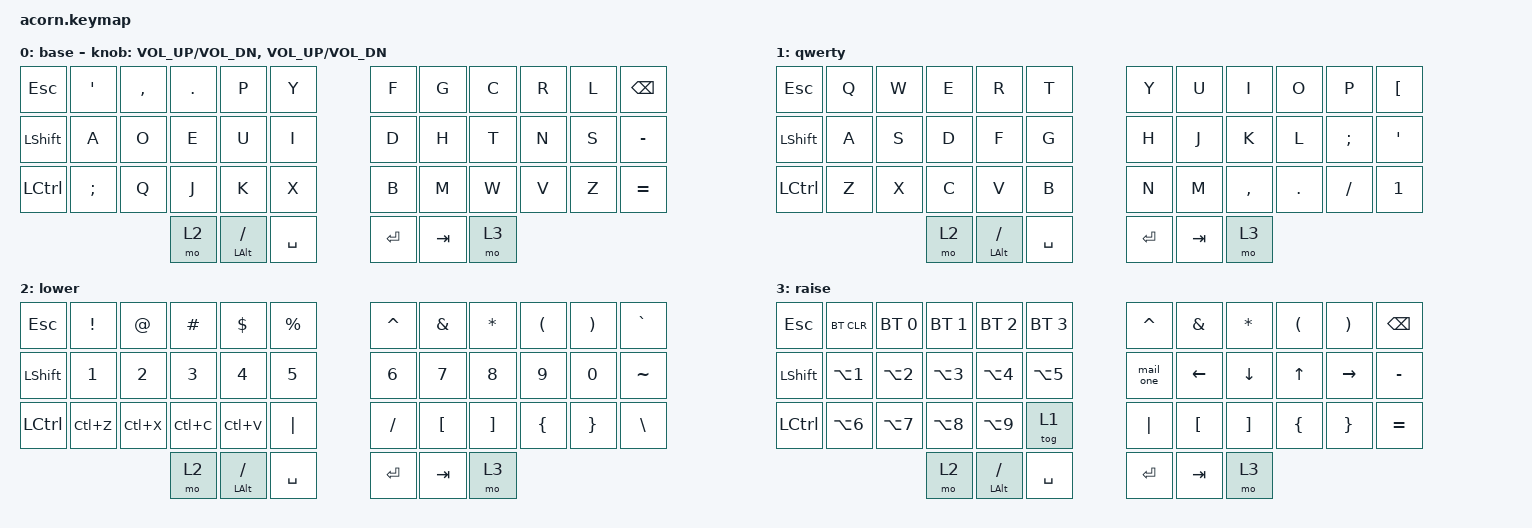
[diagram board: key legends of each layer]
#include <behaviors.dtsi>
#include <dt-bindings/zmk/keys.h>
#include <dt-bindings/zmk/bt.h>

/ {
    combos {
        compatible = "zmk,combos";

        combo_studio_unlock {
            timeout-ms = <50>;
            key-positions = <0 1>;
            bindings = <&studio_unlock>;
        };
    };

    macros {
        mail_one: mail_one {
            compatible = "zmk,behavior-macro";
            #binding-cells = <0>;
            bindings = <&macro_tap &kp S &kp S &kp R &kp I &kp J &kp I &kp I &kp T &kp H &kp AT &kp G &kp M &kp A &kp I &kp L &kp DOT &kp C &kp O &kp M>;
        };
    };

    keymap {
        compatible = "zmk,keymap";

        default_layer {
            display-name = "base";
            sensor-bindings = <&inc_dec_kp C_VOL_UP C_VOL_DN &inc_dec_kp C_VOL_UP C_VOL_DN>;
// -----------------------------------------------------------------------------------------
// |  ESC |  '  |  ,  |  .  |  P  |  Y  |   |  F  |  G   |  C  |  R  |  L  |BSPC|
// | SHFT |  A  |  O  |  E  |  U  |  I  |   |  D  |  H   |  T  |  N  |  S  |  - |
// | CTRL |  ;  |  Q  |  J  |  K  |  X  |   |  B  |  M   |  W  |  V  |  Z  |  = |
//                    | LWR | ALT | SPC |   | ENT | TAB  | RSE |
            bindings = <
&kp ESC   &kp SQT &kp COMMA &kp DOT &kp P &kp Y   &kp F &kp G  &kp C  &kp R   &kp L   &kp BSPC
&kp LSHFT &kp A &kp O &kp E &kp U &kp I   &kp D &kp H  &kp T     &kp N   &kp S &kp MINUS
&kp LCTRL &kp SEMI &kp Q &kp J &kp K &kp X   &kp B &kp M  &kp W &kp V &kp Z &kp EQUAL
                &mo 2 &mt LALT FSLH &kp SPACE   &kp RET &kp TAB &mo 3
            >;
        };

        qwerty_layer {
            display-name = "qwerty";
// -----------------------------------------------------------------------------------------
// |  ESC |  Q  |  W  |  E  |  R  |  T  |   |  Y  |  U   |  I  |  O  |  P  |BSPC|
// | SHFT |  A  |  S  |  D  |  F  |  G  |   |  H  |  J   |  K  |  L  |  ;  |  ' |
// | CTRL |  Z  |  X  |  C  |  V  |  B  |   |  N  |  M   |  ,  |  .  |  /  |  1 |
//                    | LWR | ALT | SPC |   | ENT | TAB  | RSE |
            bindings = <
&kp ESC   &kp Q &kp W &kp E &kp R &kp T   &kp Y &kp U  &kp I  &kp O   &kp P  &kp LBKT
&kp LSHFT &kp A &kp S &kp D &kp F &kp G   &kp H &kp J  &kp K     &kp L   &kp SEMI &kp SQT
&kp LCTRL &kp Z &kp X &kp C &kp V &kp B   &kp N &kp M  &kp COMMA &kp DOT &kp FSLH &kp N1
                &mo 2 &mt LALT FSLH &kp SPACE   &kp RET &kp TAB &mo 3
            >;
        };

        lower_layer {
            display-name = "lower";
// -----------------------------------------------------------------------------------------
// |  ESC |  !  |  @  |  #  |  $  |  %  |   |  ^  |  &  |  *  |  (  |  )  |  `  |
// | SHFT |  1  |  2  |  3  |  4  |  5  |   |  6  |  7  |  8  |  9  |  0  |  ~  |
// | CTRL | UND | CUT | CPY | PST |  |  |   |  /  |  [  |  ]  |  {  |  }  |  \  |
//                    | LWR | ALT | SPC |   | ENT | TAB | RSE |
            bindings = <
&kp ESC  &kp EXCL  &kp AT  &kp HASH  &kp DLLR  &kp PRCNT    &kp CARET   &kp AMPS   &kp ASTRK &kp LPAR  &kp RPAR &kp GRAVE
&kp LSHFT &kp N1 &kp N2 &kp N3 &kp N4 &kp N5   &kp N6 &kp N7 &kp N8 &kp N9 &kp N0 &kp TILDE
&kp LCTRL &kp LC(Z) &kp LC(X) &kp LC(C) &kp LC(V) &kp PIPE   &kp FSLH   &kp LBKT  &kp RBKT &kp LBRC &kp RBRC &kp BSLH
                &mo 2  &mt LALT FSLH  &kp SPACE      &kp RET  &kp TAB   &mo 3
            >;
        };

        raise_layer {
            display-name = "raise";
// -----------------------------------------------------------------------------------------
// |  ESC |BTCLR| BT0 | BT1 | BT2 | BT3 |   |  ^  |  &  |  *  |  (  |  )  | BSPC|
// | SHFT |  W1 |  W2 |  W3 |  W4 |  W5 |   | MAIL| LEFT| DOWN|  UP |RIGHT|  -  |
// | CTRL |  W6 |  W7 |  W8 |  W9 | QWRT|   |  |  |  [  |  ]  |  {  |  }  |  =  |
//                    | LWR | ALT | SPC |   | ENT | TAB | RSE |
            bindings = <
&kp ESC  &bt BT_CLR &bt BT_SEL 0 &bt BT_SEL 1  &bt BT_SEL 2  &bt BT_SEL 3  &kp CARET   &kp AMPS   &kp ASTRK &kp LPAR  &kp RPAR &kp BSPC
&kp LSHFT &kp LA(N1) &kp LA(N2) &kp LA(N3) &kp LA(N4) &kp LA(N5)   &mail_one   &kp LEFT &kp DOWN &kp UP &kp RIGHT &kp MINUS
&kp LCTRL &kp LA(N6) &kp LA(N7) &kp LA(N8) &kp LA(N9) &tog 1     &kp PIPE   &kp LBKT  &kp RBKT &kp LBRC &kp RBRC &kp EQUAL
                &mo 2  &mt LALT FSLH  &kp SPACE      &kp RET  &kp TAB   &mo 3
            >;
        };

        extra_layer1 {
            display-name = "extra_layer1";
            status = "reserved";
        };

        extra_layer2 {
            display-name = "extra_layer2";
            status = "reserved";
        };
    };
};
